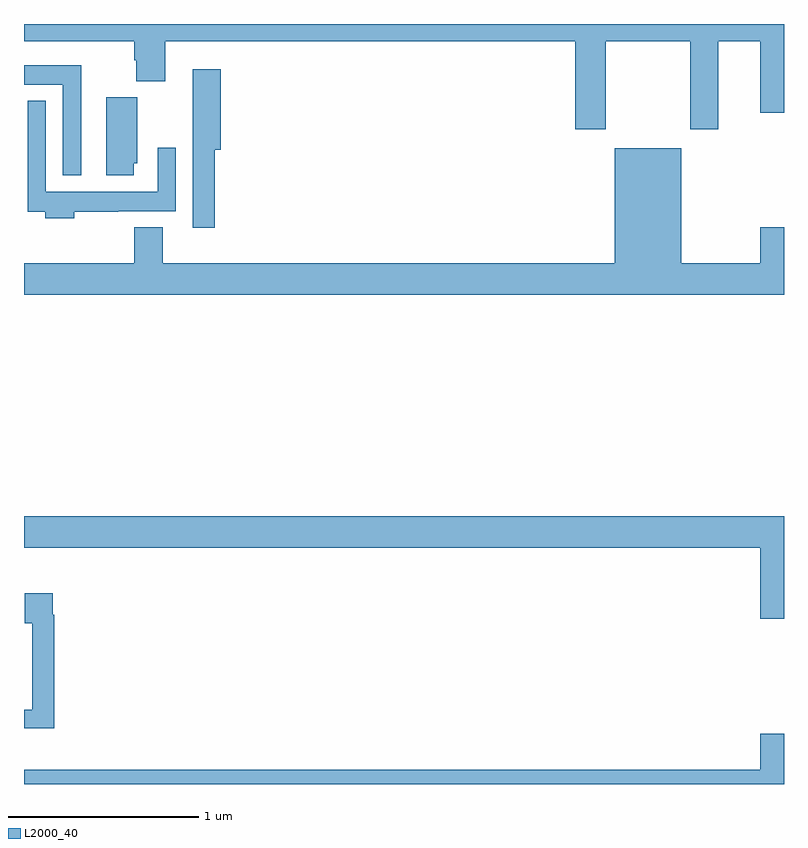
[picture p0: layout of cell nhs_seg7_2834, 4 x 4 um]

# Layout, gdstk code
import gdstk
lib = gdstk.Library(unit=1e-6, precision=1e-09)
def P(c, l, *ps):  # polygons
    for p in ps: c.add(gdstk.Polygon(p, *l))
L2000_40 = (2000, 40)

nhs_seg7_2834 = lib.new_cell('nhs_seg7_2834')
P(nhs_seg7_2834, L2000_40, [(293,1041.908),(293.579,1041.908),(293.579,1041.809),(293.591,1041.809),(293.591,1041.7),(293.744,1041.7),(293.744,1041.908),(295.901,1041.908),(295.901,1041.447),(296.061,1041.447),(296.061,1041.908),(296.506,1041.908),(296.506,1041.447),(296.653,1041.447),(296.653,1041.908),(296.876,1041.908),(296.876,1041.534),(297,1041.534),(297,1042),(293,1042)],
  [(293.302,1041.784),(293,1041.784),(293,1041.68),(293.205,1041.68),(293.205,1041.203),(293.302,1041.203)],
  [(294.005,1041.338),(294.035,1041.338),(294.035,1041.763),(293.888,1041.763),(293.888,1041.442),(293.889,1041.442),(293.889,1040.928),(294.005,1040.928)],
  [(293.578,1041.267),(293.596,1041.267),(293.596,1041.615),(293.432,1041.615),(293.432,1041.204),(293.578,1041.204)],
  [(293.264,1041.012),(293.495,1041.012),(293.495,1041.014),(293.799,1041.014),(293.799,1041.349),(293.703,1041.349),(293.703,1041.118),(293.115,1041.118),(293.115,1041.595),(293.019,1041.595),(293.019,1041.012),(293.111,1041.012),(293.111,1040.978),(293.264,1040.978)],
  [(297,1040.929),(296.876,1040.929),(296.876,1040.74),(296.458,1040.74),(296.458,1041.346),(296.108,1041.346),(296.108,1040.74),(293.731,1040.74),(293.731,1040.929),(293.579,1040.929),(293.579,1040.74),(293,1040.74),(293,1040.576),(297,1040.576)],
  [(297,1039.408),(293,1039.408),(293,1039.244),(296.876,1039.244),(296.876,1038.87),(297,1038.87)],
  [(293.159,1038.89),(293.152,1038.89),(293.152,1039.003),(293.003,1039.003),(293.003,1038.847),(293.043,1038.847),(293.043,1038.39),(293,1038.39),(293,1038.293),(293.159,1038.293)],
  [(297,1038.265),(296.876,1038.265),(296.876,1038.076),(293,1038.076),(293,1038),(297,1038)])

lib.write_gds('nhs_seg7_2834.gds')
